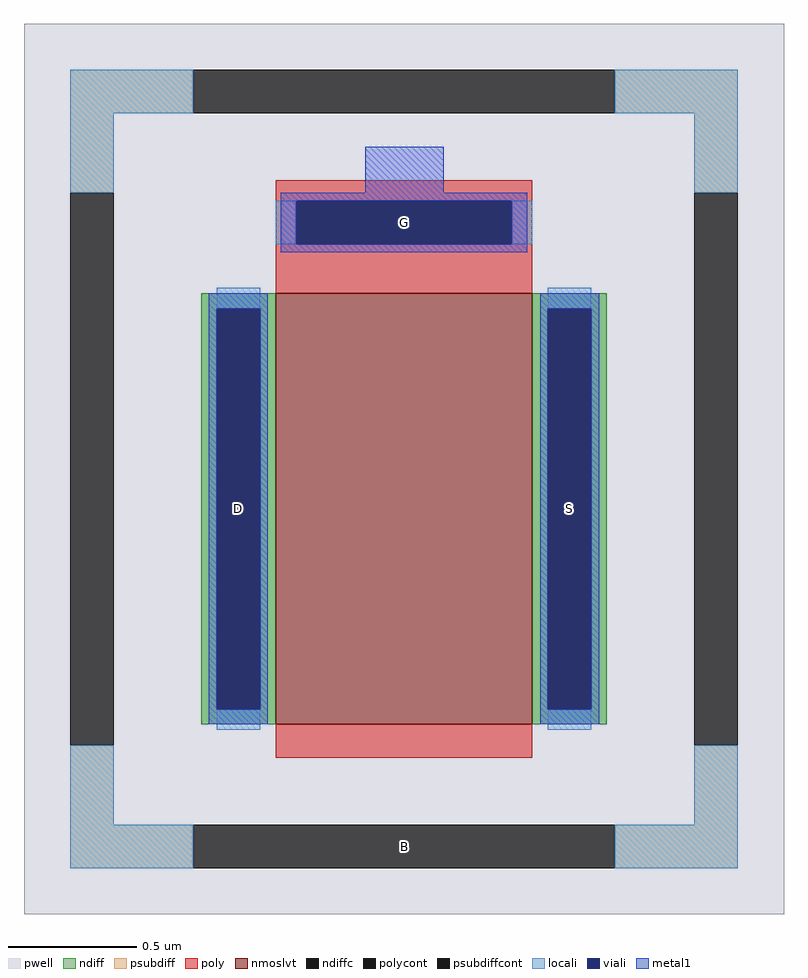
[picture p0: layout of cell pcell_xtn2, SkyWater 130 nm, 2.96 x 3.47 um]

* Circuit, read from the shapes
.subckt pcell_xtn2 B D S G
XM1 S G D B sky130_fd_pr__nfet_01v8_lvt w=1.68 l=1
.ends

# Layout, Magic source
magic
tech sky130A
magscale 1 2
<< pwell >>
rect -296 -347 296 347
<< nmoslvt >>
rect -100 -199 100 137
<< ndiff >>
rect -158 125 -100 137
rect -158 -187 -146 125
rect -112 -187 -100 125
rect -158 -199 -100 -187
rect 100 125 158 137
rect 100 -187 112 125
rect 146 -187 158 125
rect 100 -199 158 -187
<< ndiffc >>
rect -146 -187 -112 125
rect 112 -187 146 125
<< psubdiff >>
rect -260 277 -164 311
rect 164 277 260 311
rect -260 215 -226 277
rect 226 215 260 277
rect -260 -277 -226 -215
rect 226 -277 260 -215
rect -260 -311 -164 -277
rect 164 -311 260 -277
<< psubdiffcont >>
rect -164 277 164 311
rect -260 -215 -226 215
rect 226 -215 260 215
rect -164 -311 164 -277
<< poly >>
rect -100 209 100 225
rect -100 175 -84 209
rect 84 175 100 209
rect -100 137 100 175
rect -100 -225 100 -199
<< polycont >>
rect -84 175 84 209
<< locali >>
rect -260 277 -164 311
rect 164 277 260 311
rect -260 215 -226 277
rect 226 215 260 277
rect -100 175 -84 209
rect 84 175 100 209
rect -146 125 -112 141
rect -146 -203 -112 -187
rect 112 125 146 141
rect 112 -203 146 -187
rect -260 -277 -226 -215
rect 226 -277 260 -215
rect -260 -311 -164 -277
rect 164 -311 260 -277
<< viali >>
rect -84 175 84 209
rect -146 -187 -112 125
rect 112 -187 146 125
<< metal1 >>
rect -30 215 31 251
rect -96 209 96 215
rect -96 175 -84 209
rect 84 175 96 209
rect -96 169 96 175
rect -152 125 -106 137
rect -152 -187 -146 125
rect -112 -187 -106 125
rect -152 -199 -106 -187
rect 106 125 152 137
rect 106 -187 112 125
rect 146 -187 152 125
rect 106 -199 152 -187
<< labels >>
rlabel psubdiffcont 0 -294 0 -294 0 B
port 1 nsew
rlabel ndiffc -129 -31 -129 -31 0 D
port 2 nsew
rlabel ndiffc 129 -31 129 -31 0 S
port 3 nsew
rlabel polycont 0 192 0 192 0 G
port 4 nsew
<< end >>
